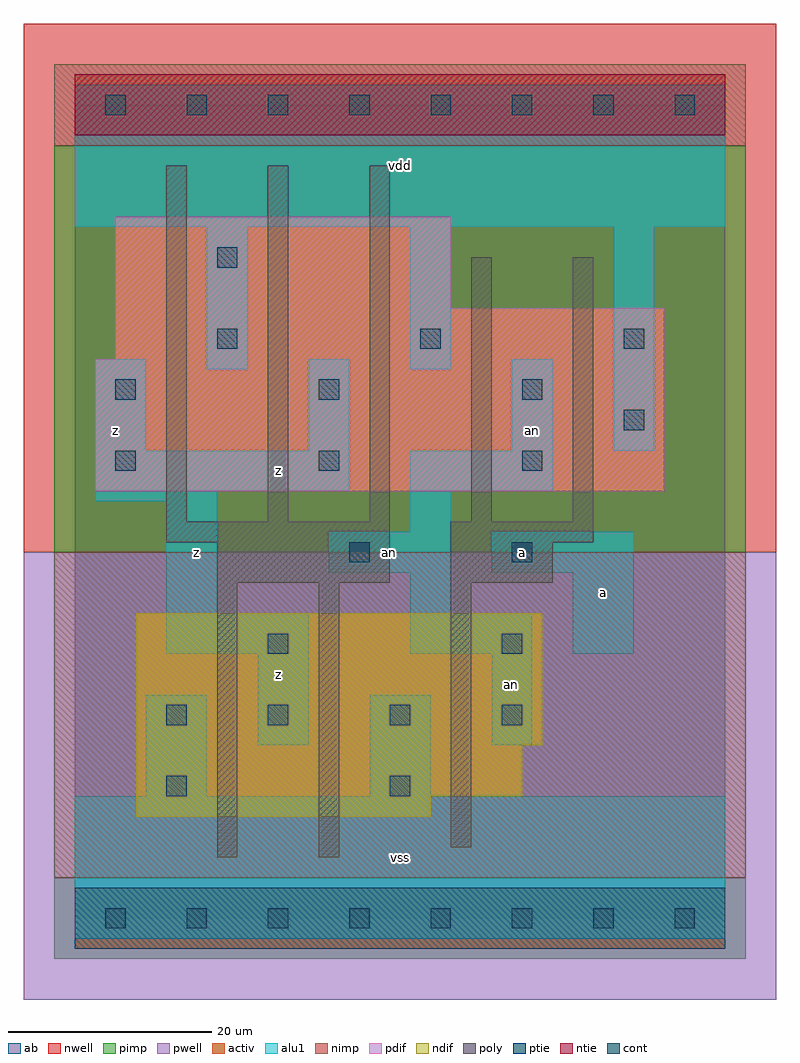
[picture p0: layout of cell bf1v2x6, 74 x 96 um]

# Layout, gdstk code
import gdstk
lib = gdstk.Library(unit=1e-6, precision=1e-09)
def R(c, l, rs):  # rectangles x0, y0, x1, y1
    for r in rs: c.add(gdstk.rectangle(r[:2], r[2:], *l))
def A(c, l, x, y, w, h, nx, ny, dx, dy):  # array of equal rectangles
    R(c, l, [(x+i*dx, y+j*dy, x+i*dx+w, y+j*dy+h) for i in range(nx) for j in range(ny)])
ndif = (3, 0)
pdif = (4, 0)
ntie = (5, 0)
ptie = (6, 0)
cont = (25, 0)
pwell = (41, 0)
nwell = (42, 0)
activ = (43, 0)
pimp = (44, 0)
nimp = (45, 0)
poly = (46, 0)
alu1 = (49, 0)
ab = (63, 0)

bf1v2x6 = lib.new_cell('bf1v2x6')
R(bf1v2x6, ndif, [(6,10,35,12), (6,12,44,17), (6,17,46,30)])
R(bf1v2x6, pdif, [(2,42,58,55), (4,55,58,60), (4,60,37,69)])
R(bf1v2x6, ntie, [(0,77,64,83)])
R(bf1v2x6, ptie, [(0,-3,64,3)])
A(bf1v2x6, cont, 3, -1, 2, 2, 8, 2, 8, 80)
A(bf1v2x6, cont, 4, 44, 2, 2, 3, 2, 20, 7)
A(bf1v2x6, cont, 14, 56, 2, 2, 3, 1, 20, 0)
R(bf1v2x6, cont, [(9,12,11,14), (31,12,33,14), (9,19,11,21), (19,19,21,21), (31,19,33,21), (42,19,44,21), (19,26,21,28), (42,26,44,28), (27,35,29,37), (43,35,45,37), (54,48,56,50), (14,64,16,66)])
R(bf1v2x6, pwell, [(-5,-8,69,36)])
R(bf1v2x6, nwell, [(-5,36,69,88)])
R(bf1v2x6, activ, [(0,-3,64,3), (6,10,35,12), (6,12,44,17), (6,17,46,30), (2,42,58,55), (4,55,58,60), (4,60,37,69), (0,77,64,83)])
R(bf1v2x6, pimp, [(-2,-4,66,4), (-2,36,66,76)])
R(bf1v2x6, nimp, [(-2,4,66,36), (-2,76,66,84)])
A(bf1v2x6, poly, 9, 39, 2, 35, 3, 1, 10, 0)
R(bf1v2x6, poly, [(14,6,16,33), (24,6,26,33), (37,7,39,33), (14,33,31,37), (37,33,47,37), (9,37,31,39), (37,37,51,39), (39,39,41,65), (49,39,51,65)])
R(bf1v2x6, alu1, [(0,-2,64,12), (7,12,13,22), (29,12,35,22), (18,17,23,26), (41,17,45,26), (9,26,23,30), (33,26,45,30), (49,26,55,34), (9,30,14,41), (33,30,37,34), (25,34,37,38), (41,34,55,38), (33,38,37,42), (2,41,14,42), (2,42,27,46), (33,42,47,46), (2,46,7,55), (23,46,27,55), (43,46,47,55), (53,46,57,68), (13,54,17,68), (33,54,37,68), (0,68,64,82)])
R(bf1v2x6, ab, [(0,0,64,80)])
bf1v2x6.add(gdstk.Label('an', (43,23), layer=49, texttype=0))
bf1v2x6.add(gdstk.Label('an', (31,36), layer=49, texttype=0))
bf1v2x6.add(gdstk.Label('an', (45,48), layer=49, texttype=0))
bf1v2x6.add(gdstk.Label('z', (12,36), layer=49, texttype=0))
bf1v2x6.add(gdstk.Label('z', (4,48), layer=49, texttype=0))
bf1v2x6.add(gdstk.Label('z', (20,24), layer=49, texttype=0))
bf1v2x6.add(gdstk.Label('z', (20,44), layer=49, texttype=0))
bf1v2x6.add(gdstk.Label('vss', (32,6), layer=49, texttype=0))
bf1v2x6.add(gdstk.Label('a', (44,36), layer=49, texttype=0))
bf1v2x6.add(gdstk.Label('vdd', (32,74), layer=49, texttype=0))
bf1v2x6.add(gdstk.Label('a', (52,32), layer=49, texttype=0))

lib.write_gds('bf1v2x6.gds')
